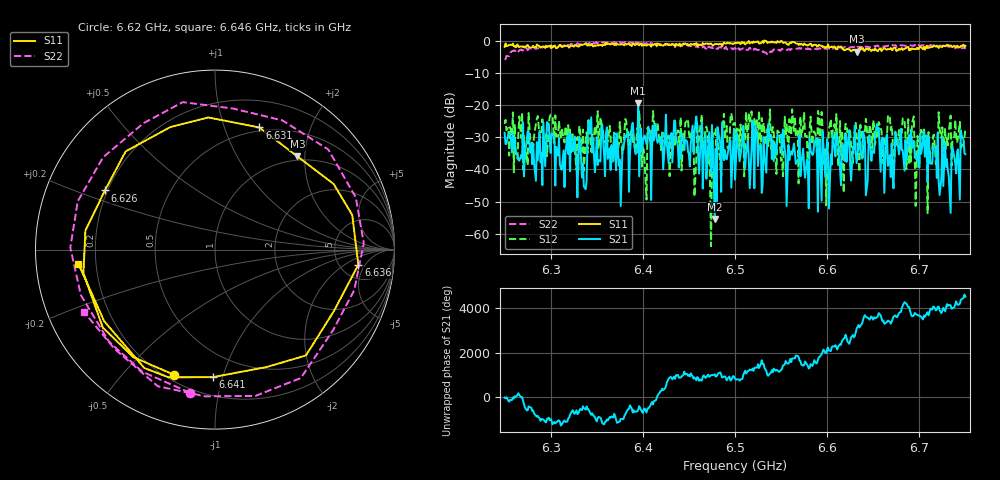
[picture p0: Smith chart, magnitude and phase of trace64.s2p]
# Hz S RI R 50
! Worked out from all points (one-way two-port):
!   401 points, 6.25 GHz to 6.75 GHz, reference 50 ohm
!   highest |S21| = -19.29 dB at 6.395 GHz (marker M1); lowest = -55.4 dB at 6.478 GHz (marker M2)
!   lowest |S11| = -3.2 dB at 6.632 GHz (marker M3), VSWR 5.51, Z = 46.2 + j92.3 ohm
!   |S11| at or under -10 dB: nowhere
!   |S22| runs from -5.7 to -0.1 dB; largest |S21 - S12| = 0.12
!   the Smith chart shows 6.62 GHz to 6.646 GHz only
!   S11 on the Smith chart (normalised r, x): 6.62 GHz: 0.23, -0.70; 6.626 GHz: 0.19, +0.24; 6.631 GHz: 0.46, +1.32; 6.636 GHz: 7.46, -3.54; 6.641 GHz: 0.32, -0.93; 6.646 GHz: 0.13, -0.05
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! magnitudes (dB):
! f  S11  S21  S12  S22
! 6.25 GHz  -1.7  -28.6  -25.8  -5.7
! 6.272 GHz  -2.0  -35.4  -37.1  -2.5
! 6.3 GHz  -1.2  -34.8  -22.9  -2.1
! 6.334 GHz  -1.1  -42.5  -34.4  -0.8
! 6.395 GHz  -1.1  -19.3  -31.5  -0.7
! 6.401 GHz  -1.3  -30.1  -33.9  -0.5
! 6.418 GHz  -1.0  -30.0  -31.4  -1.2
! 6.456 GHz  -1.1  -28.6  -48.5  -1.6
! 6.478 GHz  -0.9  -55.4  -28.9  -1.8
! 6.5 GHz  -0.5  -43.2  -25.5  -2.1
! 6.584 GHz  -1.6  -35.5  -32.3  -2.2
! 6.599 GHz  -1.8  -36.0  -51.2  -2.4
! 6.62 GHz  -2.7  -28.6  -25.7  -1.8
! 6.626 GHz  -3.1  -43.5  -32.9  -1.8
! 6.631 GHz  -2.8  -34.9  -25.5  -2.0
! 6.632 GHz  -3.2  -38.0  -28.9  -1.8
! 6.636 GHz  -1.9  -34.1  -26.1  -1.6
! 6.641 GHz  -3.0  -31.2  -27.9  -1.5
! 6.646 GHz  -2.3  -29.3  -26.0  -1.9
! 6.668 GHz  -2.4  -35.5  -23.6  -1.4
! 6.698 GHz  -2.1  -37.3  -29.5  -1.2
! 6.75 GHz  -1.4  -35.2  -27.0  -2.4
